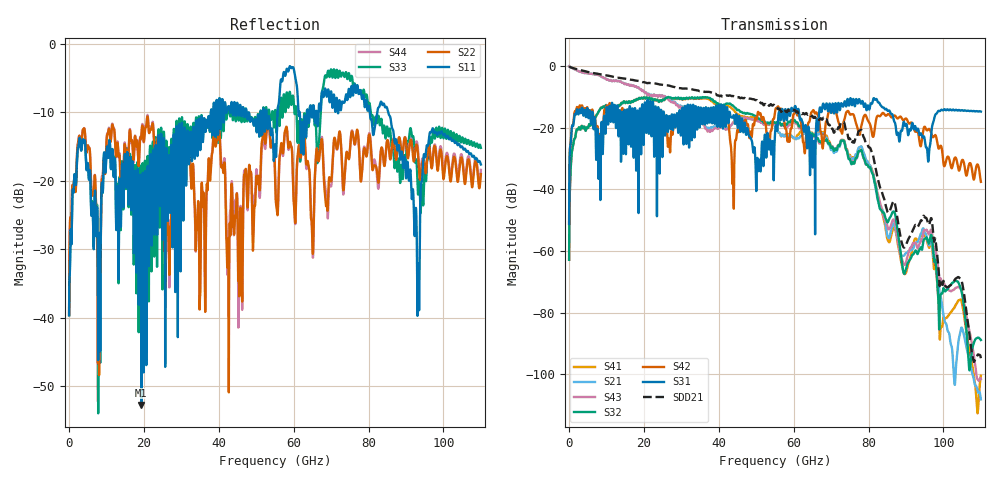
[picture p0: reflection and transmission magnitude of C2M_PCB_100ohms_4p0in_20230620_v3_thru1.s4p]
! Info: Touchstone file created by Circ.  Input file=C2M_PCB_100ohms_4p0in_20230620_v3.circ
# Hz S RI R 50
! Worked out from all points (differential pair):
!   11000 points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, 10 MHz to 110 GHz, reference 50 ohm
!   strongest paths, dB at 10 MHz, 27.51 GHz, 55.01 GHz, 82.51 GHz, 110 GHz:
!     S31: -51.3, -16.0, -22.0, -11.8, -14.8
!     S42: -51.2, -21.9, -15.0, -16.1, -37.6
!     S32: -62.9, -10.6, -18.5, -43.4, -88.9
!     S43: -0.1, -11.7, -18.8, -41.7, -101.5
!     S21: -0.1, -11.4, -19.5, -43.7, -108.2
!     S41: -62.9, -10.8, -19.6, -42.6, -100.5
!   taken as a pair (ports 3,1 in; 4,2 out), SDD21 dB: -0.1, -6.7, -13.1, -36.8, -94.8
!   lowest |S11| = -52.7 dB at 19.3 GHz (marker M1), VSWR 1.00, Z = 50.1 - j0.219 ohm
!   |S11| at or under -10 dB: start of sweep to 37.88 GHz; 47.42 GHz to 51.14 GHz (3.726 GHz wide, 7.56 % of centre); 85.22 GHz to end of sweep (the widest 3 of 26)
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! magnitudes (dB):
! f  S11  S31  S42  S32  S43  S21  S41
! 10 MHz  -39.7  -51.3  -51.2  -62.9  -0.1  -0.1  -62.9
! 2.28 GHz  -15.5  -14.6  -13.7  -20.7  -1.6  -1.6  -20.7
! 19.3 GHz  -52.7  -21.8  -23.7  -10.3  -7.7  -7.7  -10.3
! 50.32 GHz  -11.4  -29.9  -15.6  -16.7  -17.9  -17.6  -17.4
! 77.89 GHz  -6.9  -12.2  -20.5  -27.3  -27.5  -26.1  -26.2
! 89.5 GHz  -16.9  -18.3  -17.5  -67.4  -64.5  -61.5  -67.4
! 110 GHz  -17.6  -14.8  -37.6  -88.9  -101.5  -108.2  -100.5
